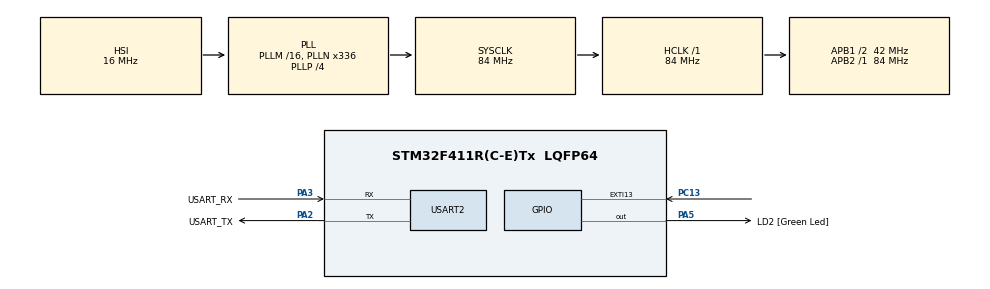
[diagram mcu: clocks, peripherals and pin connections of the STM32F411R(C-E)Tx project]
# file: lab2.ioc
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ADC1.Channel-0\#ChannelRegularConversion=ADC_CHANNEL_TEMPSENSOR
ADC1.NbrOfConversionFlag=1
ADC1.Rank-0\#ChannelRegularConversion=1
ADC1.SamplingTime-0\#ChannelRegularConversion=ADC_SAMPLETIME_3CYCLES
ADC1.master=1
Dma.Request0=USART2_RX
Dma.USART2_RX.0.Direction=DMA_PERIPH_TO_MEMORY
Dma.USART2_RX.0.FIFOMode=DMA_FIFOMODE_DISABLE
Dma.USART2_RX.0.Instance=DMA1_Stream5
Dma.USART2_RX.0.MemDataAlignment=DMA_MDATAALIGN_BYTE
Dma.USART2_RX.0.MemInc=DMA_MINC_ENABLE
Dma.USART2_RX.0.Mode=DMA_NORMAL
Dma.USART2_RX.0.PeriphDataAlignment=DMA_PDATAALIGN_BYTE
Dma.USART2_RX.0.PeriphInc=DMA_PINC_DISABLE
Dma.USART2_RX.0.Priority=DMA_PRIORITY_LOW
Mcu.Family=STM32F4
Mcu.Name=STM32F411R(C-E)Tx
Mcu.Package=LQFP64
NVIC.DMA1_Stream5_IRQn=true\:0\:0\:false\:false\:true\:false\:true
NVIC.EXTI15_10_IRQn=true\:0\:0\:false\:false\:true\:true\:true
NVIC.PriorityGroup=NVIC_PRIORITYGROUP_0
NVIC.USART2_IRQn=true\:0\:0\:false\:false\:true\:true\:true
PA13.GPIO_Label=TMS
PA13.Mode=Serial_Wire
PA13.Signal=SYS_JTMS-SWDIO
PA14.GPIO_Label=TCK
PA14.Mode=Serial_Wire
PA14.Signal=SYS_JTCK-SWCLK
PA2.GPIO_Label=USART_TX
PA2.Mode=Asynchronous
PA2.Signal=USART2_TX
PA3.GPIO_Label=USART_RX
PA3.Mode=Asynchronous
PA3.Signal=USART2_RX
PA5.GPIO_Label=LD2 [Green Led]
PA5.Signal=GPIO_Output
PB3.GPIO_Label=SWO
PB3.Signal=SYS_JTDO-SWO
PC13-ANTI_TAMP.Signal=GPXTI13
PC14-OSC32_IN.Mode=LSE-External-Oscillator
PC14-OSC32_IN.Signal=RCC_OSC32_IN
PC15-OSC32_OUT.Mode=LSE-External-Oscillator
PC15-OSC32_OUT.Signal=RCC_OSC32_OUT
PH0\ -\ OSC_IN.Mode=HSE-External-Clock-Source
PH0\ -\ OSC_IN.Signal=RCC_OSC_IN
PH1\ -\ OSC_OUT.Mode=HSE-External-Clock-Source
PH1\ -\ OSC_OUT.Signal=RCC_OSC_OUT
ProjectManager.HeapSize=0x200
ProjectManager.StackSize=0x400
ProjectManager.TargetToolchain=STM32CubeIDE
RCC.48MHZClocksFreq_Value=84000000
RCC.AHBFreq_Value=84000000
RCC.APB1CLKDivider=RCC_HCLK_DIV2
RCC.APB1Freq_Value=42000000
RCC.APB1TimFreq_Value=84000000
RCC.APB2Freq_Value=84000000
RCC.APB2TimFreq_Value=84000000
RCC.CortexFreq_Value=84000000
RCC.FLatency-AdvancedSettings=FLASH_LATENCY_2
RCC.HCLKFreq_Value=84000000
RCC.HSE_VALUE=8000000
RCC.HSI_VALUE=16000000
RCC.PLLN=336
RCC.PLLP=RCC_PLLP_DIV4
RCC.SYSCLKFreq_VALUE=84000000
RCC.SYSCLKSource=RCC_SYSCLKSOURCE_PLLCLK
RCC.VCOOutputFreq_Value=336000000
USART2.VirtualMode=VM_ASYNC
VP_ADC1_TempSens_Input.Mode=IN-TempSens
board=NUCLEO-F411RE

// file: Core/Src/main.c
/* USER CODE BEGIN Header */
/**
 ******************************************************************************
 * @file           : main.c
 * @brief          : Main program body
 ******************************************************************************
 * @attention
 *
 * <h2><center>&copy; Copyright (c) 2022 STMicroelectronics.
 * All rights reserved.</center></h2>
 *
 * This software component is licensed by ST under BSD 3-Clause license,
 * the "License"; You may not use this file except in compliance with the
 * License. You may obtain a copy of the License at:
 *                        opensource.org/licenses/BSD-3-Clause
 *
 ******************************************************************************
 */
/* USER CODE END Header */
#include "main.h"
#include "adc.h"
#include "dma.h"
#include "usart.h"
#include "gpio.h"

/* USER CODE BEGIN Includes */
#include "stdio.h"
#include "string.h"
/* USER CODE END Includes */

/* USER CODE BEGIN PD */
#define Buff_Size 256
/* USER CODE END PD */

/* USER CODE BEGIN PV */
uint8_t flashing = 1;
uint8_t Receive_buff[Buff_Size];
uint8_t UART_Message = 0;

ADC_ChannelConfTypeDef sConfig =
{ 0 };

extern DMA_HandleTypeDef hdma_usart2_rx;
extern ADC_HandleTypeDef hadc1;

struct bf
{
	unsigned int uart :1;
	unsigned int flashing :1;
} bit_field;
/* USER CODE END PV */

void SystemClock_Config(void);
/* USER CODE BEGIN PFP */
void UART_IRQHandler(UART_HandleTypeDef *huart);
void UART_IDLECallback(UART_HandleTypeDef *huart);
/* USER CODE END PFP */

int main(void)
{

	/* MCU Configuration--------------------------------------------------------*/

	/* Reset of all peripherals, Initializes the Flash interface and the Systick. */
	HAL_Init();

	/* Configure the system clock */
	SystemClock_Config();

	/* Initialize all configured peripherals */
	MX_GPIO_Init();
	MX_DMA_Init();
	MX_USART2_UART_Init();
	MX_ADC1_Init();
	/* USER CODE BEGIN 2 */
	bit_field.uart = 1;
	__HAL_UART_ENABLE_IT(&huart2, UART_IT_IDLE);
	HAL_UART_Receive_DMA(&huart2, Receive_buff, Buff_Size - 1);
	/* USER CODE END 2 */

	/* Infinite loop */
	while (1)
	{

		if (bit_field.uart == 1)
		{
			bit_field.uart = 0;
			if (UART_Message)
			{
				uint8_t str_len = Buff_Size
						- __HAL_DMA_GET_COUNTER(&hdma_usart2_rx);
				HAL_UART_Receive_DMA(&huart2, Receive_buff, Buff_Size - 1);
				memset(Receive_buff + str_len - 1, 0, Buff_Size - str_len);
				UART_Message = 0;
				if ((Receive_buff[0] == 't' || Receive_buff[0] == 'T')
						&& Receive_buff[1] == ' '
						&& (Receive_buff[2] == 'm' || Receive_buff[2] == 'M')
						&& (Receive_buff[3] == 'c' || Receive_buff[3] == 'C')
						&& (Receive_buff[4] == 'u' || Receive_buff[4] == 'U')
						&& Receive_buff[5] == '?')
				{

					sConfig.Channel = ADC_CHANNEL_16;
					sConfig.Rank = 1;
					sConfig.SamplingTime = ADC_SAMPLETIME_3CYCLES;
					HAL_ADC_ConfigChannel(&hadc1, &sConfig);

					HAL_ADC_Start(&hadc1);
					HAL_ADC_PollForConversion(&hadc1, 0xFFFFFFFF);
					uint16_t val = HAL_ADC_GetValue(&hadc1);
					float temp;
					temp = (float) val / 4096 * 3.3f;
					temp = (1.43f - temp) / 4.3f + 25;
					HAL_ADC_Stop(&hadc1);
					char responseTemp[10];
					sprintf(responseTemp, "T MCU=%dC\r", (int) temp);
					responseTemp[9] = 0;
					HAL_UART_Transmit(&huart2, (uint8_t*) responseTemp, 10,
							0xFFFFFFFF);
				}
				else if ((Receive_buff[0] == 'v' || Receive_buff[0] == 'V')
						&& Receive_buff[1] == ' '
						&& (Receive_buff[2] == 'r' || Receive_buff[2] == 'R')
						&& (Receive_buff[3] == 'e' || Receive_buff[3] == 'E')
						&& (Receive_buff[4] == 'f' || Receive_buff[4] == 'F')
						&& Receive_buff[5] == '?')
				{
					sConfig.Channel = ADC_CHANNEL_VREFINT;
					sConfig.Rank = 1;
					sConfig.SamplingTime = ADC_SAMPLETIME_3CYCLES;
					HAL_ADC_ConfigChannel(&hadc1, &sConfig);

					HAL_ADC_Start(&hadc1);
					HAL_ADC_PollForConversion(&hadc1, 0xFFFFFFFF);
					uint16_t val = HAL_ADC_GetValue(&hadc1);
					float vref = 1.2f * 4096.0f / val;
					HAL_ADC_Stop(&hadc1);
					char responseV[13];
					responseV[12] = 0;
					sprintf(responseV, "V REF=%.2f V\r", vref);
					HAL_UART_Transmit(&huart2, (uint8_t*) responseV, 13,
							0xFFFFFFFF);
				}
				else if ((Receive_buff[0] == 'a' || Receive_buff[0] == 'A')
						&& (Receive_buff[1] == 'l' || Receive_buff[1] == 'L')
						&& (Receive_buff[2] == 'l' || Receive_buff[2] == 'L')
						&& Receive_buff[3] == ' '
						&& (Receive_buff[4] == 's' || Receive_buff[4] == 'S')
						&& (Receive_buff[5] == 'e' || Receive_buff[5] == 'E')
						&& (Receive_buff[6] == 'n' || Receive_buff[6] == 'N')
						&& (Receive_buff[7] == 's' || Receive_buff[7] == 'S')
						&& (Receive_buff[8] == 'e' || Receive_buff[8] == 'E')
						&& Receive_buff[9] == '?')
				{
					sConfig.Channel = ADC_CHANNEL_16;
					sConfig.Rank = 1;
					sConfig.SamplingTime = ADC_SAMPLETIME_3CYCLES;
					HAL_ADC_ConfigChannel(&hadc1, &sConfig);

					HAL_ADC_Start(&hadc1);
					HAL_ADC_PollForConversion(&hadc1, 0xFFFFFFFF);
					uint16_t val = HAL_ADC_GetValue(&hadc1);
					float temp;
					temp = (float) val / 4096 * 3.3f;
					temp = (1.43f - temp) / 4.3f + 25;
					HAL_ADC_Stop(&hadc1);
					char responseTemp[10];
					sprintf(responseTemp, "T MCU=%dC\r", (int) temp);
					responseTemp[9] = 0;
					HAL_UART_Transmit(&huart2, (uint8_t*) responseTemp, 10,
							0xFFFFFFFF);

					sConfig.Channel = ADC_CHANNEL_VREFINT;
					sConfig.Rank = 1;
					sConfig.SamplingTime = ADC_SAMPLETIME_3CYCLES;
					HAL_ADC_ConfigChannel(&hadc1, &sConfig);

					HAL_ADC_Start(&hadc1);
					HAL_ADC_PollForConversion(&hadc1, 0xFFFFFFFF);
					uint16_t vVal = HAL_ADC_GetValue(&hadc1);
					float vref = 1.2f * 4096.0f / vVal;
					HAL_ADC_Stop(&hadc1);
					char responseV[13];
					responseV[12] = 0;
					sprintf(responseV, "V REF=%.2f V\r", vref);
					HAL_UART_Transmit(&huart2, (uint8_t*) responseV, 13,
							0xFFFFFFFF);
				}
				else
				{
					HAL_UART_Transmit(&huart2, (uint8_t*) "Wrong command",
							strlen("Wrong command\r"), 0xFFFFFFFF);
				}
			}
			bit_field.flashing = 1;
		}
		/* USER CODE BEGIN 3 */

		if (bit_field.flashing == 1)
		{
			bit_field.flashing = 0;
			if (flashing)
			{
				HAL_GPIO_WritePin(LD2_GPIO_Port, LD2_Pin, GPIO_PIN_SET);
				HAL_Delay(250);
				HAL_GPIO_WritePin(LD2_GPIO_Port, LD2_Pin, GPIO_PIN_RESET);
				HAL_Delay(250);
			}
			bit_field.uart = 1;
		}
	}
	/* USER CODE END 3 */
}

void SystemClock_Config(void)
{
	RCC_OscInitTypeDef RCC_OscInitStruct =
	{ 0 };
	RCC_ClkInitTypeDef RCC_ClkInitStruct =
	{ 0 };

	/** Configure the main internal regulator output voltage
	 */
	__HAL_RCC_PWR_CLK_ENABLE();
	__HAL_PWR_VOLTAGESCALING_CONFIG(PWR_REGULATOR_VOLTAGE_SCALE1);
	/** Initializes the RCC Oscillators according to the specified parameters
	 * in the RCC_OscInitTypeDef structure.
	 */
	RCC_OscInitStruct.OscillatorType = RCC_OSCILLATORTYPE_HSI;
	RCC_OscInitStruct.HSIState = RCC_HSI_ON;
	RCC_OscInitStruct.HSICalibrationValue = RCC_HSICALIBRATION_DEFAULT;
	RCC_OscInitStruct.PLL.PLLState = RCC_PLL_ON;
	RCC_OscInitStruct.PLL.PLLSource = RCC_PLLSOURCE_HSI;
	RCC_OscInitStruct.PLL.PLLM = 16;
	RCC_OscInitStruct.PLL.PLLN = 336;
	RCC_OscInitStruct.PLL.PLLP = RCC_PLLP_DIV4;
	RCC_OscInitStruct.PLL.PLLQ = 4;
	if (HAL_RCC_OscConfig(&RCC_OscInitStruct) != HAL_OK)
	{
		Error_Handler();
	}
	/** Initializes the CPU, AHB and APB buses clocks
	 */
	RCC_ClkInitStruct.ClockType = RCC_CLOCKTYPE_HCLK | RCC_CLOCKTYPE_SYSCLK
			| RCC_CLOCKTYPE_PCLK1 | RCC_CLOCKTYPE_PCLK2;
	RCC_ClkInitStruct.SYSCLKSource = RCC_SYSCLKSOURCE_PLLCLK;
	RCC_ClkInitStruct.AHBCLKDivider = RCC_SYSCLK_DIV1;
	RCC_ClkInitStruct.APB1CLKDivider = RCC_HCLK_DIV2;
	RCC_ClkInitStruct.APB2CLKDivider = RCC_HCLK_DIV1;

	if (HAL_RCC_ClockConfig(&RCC_ClkInitStruct, FLASH_LATENCY_2) != HAL_OK)
	{
		Error_Handler();
	}
}

/* USER CODE BEGIN 4 */
void UART_IRQHandler(UART_HandleTypeDef *huart)
{
	if (RESET != __HAL_UART_GET_FLAG(huart, UART_FLAG_IDLE))
	{
		__HAL_UART_CLEAR_IDLEFLAG(huart);
		UART_IDLECallback(huart);
	}
}

void UART_IDLECallback(UART_HandleTypeDef *huart)
{
	HAL_UART_DMAStop(huart);
	UART_Message = 1;
}
/* USER CODE END 4 */

void Error_Handler(void)
{
	__disable_irq();
	while (1)
	{
	}
}

/************************ (C) COPYRIGHT STMicroelectronics *****END OF FILE****/
